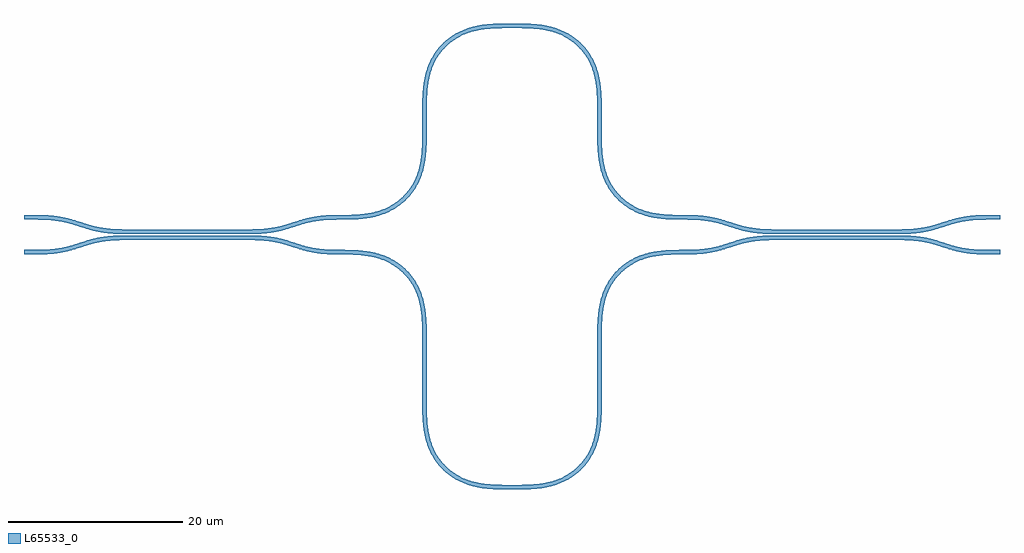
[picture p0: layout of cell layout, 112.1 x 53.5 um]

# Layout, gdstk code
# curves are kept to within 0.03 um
import gdstk
lib = gdstk.Library(unit=1e-6, precision=1e-09)
def R(c, l, rs):  # rectangles x0, y0, x1, y1
    for r in rs: c.add(gdstk.rectangle(r[:2], r[2:], *l))
def P(c, l, *ps):  # polygons
    for p in ps: c.add(gdstk.Polygon(p, *l))
L65533_0 = (65533, 0)

layout = lib.new_cell('layout')
R(layout, L65533_0, [(44.5,-28.9,44.6,-28.4), (34.25,-18.65,34.75,-11.65), (54.35,-18.65,54.85,-11.65), (-11.5,-1.9,-10,-1.4), (99.1,-1.9,100.6,-1.4), (-11.5,2.1,-10,2.6), (99.1,2.1,100.6,2.6), (34.25,12.35,34.75,14.35), (54.35,12.35,54.85,14.35), (44.5,24.1,44.6,24.6)])
P(layout, L65533_0, [(-10,-1.9),(-10,-1.4),(-8.633,-1.353),(-7.417,-1.209),(-6.25,-0.951),(-4.051,-0.264),(-3.066,-0.022),(-1.653,0.181),(-0.303,0.248),(14.5,0.25),(15.775,0.21),(16.846,0.101),(17.85,-0.083),(20.75,-0.951),(21.819,-1.192),(23.133,-1.353),(24.5,-1.4),(24.5,-1.9),(23.489,-1.876),(22.377,-1.781),(20.879,-1.502),(18.573,-0.791),(17.559,-0.531),(16.452,-0.352),(15.486,-0.274),(-0.44,-0.254),(-1.839,-0.34),(-3.059,-0.531),(-4.073,-0.791),(-6.033,-1.41),(-7.335,-1.702),(-8.596,-1.851)],
  [(0,0.45),(-1.404,0.499),(-2.665,0.648),(-3.967,0.94),(-5.927,1.559),(-7.033,1.838),(-8.392,2.033),(-10,2.1),(-10,2.6),(-8.596,2.551),(-7.335,2.402),(-6.033,2.11),(-4.073,1.491),(-2.967,1.212),(-1.608,1.017),(0,0.95),(14.5,0.95),(15.867,0.997),(16.88,1.109),(17.827,1.291),(20.533,2.11),(21.631,2.366),(22.847,2.531),(24.5,2.6),(24.5,2.1),(23.133,2.053),(21.722,1.874),(20.587,1.605),(18.032,0.826),(17.061,0.631),(16.153,0.519),(14.5,0.45)],
  [(34.25,-11.65),(34.231,-9.995),(34.161,-8.904),(34.031,-7.963),(33.853,-7.173),(33.551,-6.285),(33.201,-5.563),(32.769,-4.888),(32.168,-4.171),(31.682,-3.712),(31.043,-3.228),(30.351,-2.823),(29.616,-2.501),(28.584,-2.199),(27.381,-2.003),(26.155,-1.919),(24.5,-1.9),(24.5,-1.4),(26.312,-1.425),(27.435,-1.506),(28.415,-1.653),(29.383,-1.894),(30.319,-2.252),(31.079,-2.658),(31.897,-3.24),(32.529,-3.824),(33.173,-4.594),(33.773,-5.572),(34.166,-6.495),(34.439,-7.456),(34.591,-8.294),(34.694,-9.277),(34.75,-11.65)],
  [(44.084,-28.9),(42.688,-28.875),(41.565,-28.794),(40.585,-28.647),(39.617,-28.406),(38.681,-28.048),(37.921,-27.642),(37.103,-27.06),(36.471,-26.476),(35.912,-25.821),(35.363,-24.981),(34.933,-24.073),(34.664,-23.259),(34.452,-22.286),(34.329,-21.304),(34.265,-20.182),(34.25,-18.65),(34.75,-18.65),(34.769,-20.305),(34.853,-21.531),(35.02,-22.602),(35.306,-23.64),(35.613,-24.381),(35.934,-24.967),(36.311,-25.519),(36.832,-26.129),(37.318,-26.588),(37.957,-27.072),(38.649,-27.477),(39.384,-27.799),(40.416,-28.101),(41.619,-28.297),(42.845,-28.381),(44.5,-28.4),(44.5,-28.9)],
  [(24.5,2.1),(24.5,2.6),(26.155,2.619),(27.381,2.703),(28.452,2.87),(29.49,3.156),(30.231,3.463),(30.931,3.855),(31.579,4.326),(32.075,4.775),(32.524,5.271),(32.995,5.919),(33.387,6.619),(33.694,7.36),(33.98,8.398),(34.147,9.469),(34.231,10.695),(34.25,12.35),(34.75,12.35),(34.735,10.818),(34.658,9.555),(34.523,8.574),(34.297,7.604),(33.957,6.662),(33.566,5.895),(33,5.065),(32.428,4.422),(31.785,3.85),(30.955,3.284),(30.188,2.893),(29.246,2.553),(28.276,2.327),(27.295,2.192),(26.032,2.115)],
  [(34.25,14.35),(34.265,15.882),(34.342,17.145),(34.477,18.126),(34.703,19.096),(35.043,20.038),(35.434,20.805),(36,21.635),(36.572,22.278),(37.215,22.85),(38.045,23.416),(38.812,23.807),(39.754,24.147),(40.724,24.373),(41.705,24.508),(42.968,24.585),(44.5,24.6),(44.5,24.1),(42.845,24.081),(41.619,23.997),(40.548,23.83),(39.51,23.544),(38.769,23.237),(38.069,22.845),(37.421,22.374),(36.925,21.925),(36.476,21.429),(36.005,20.781),(35.613,20.081),(35.306,19.34),(35.02,18.302),(34.853,17.231),(34.769,16.005),(34.75,14.35)],
  [(54.35,14.35),(54.331,16.005),(54.261,17.096),(54.131,18.037),(53.953,18.827),(53.651,19.715),(53.301,20.437),(52.869,21.112),(52.268,21.829),(51.782,22.288),(51.143,22.772),(50.451,23.177),(49.716,23.499),(48.684,23.801),(47.481,23.997),(46.255,24.081),(44.6,24.1),(44.6,24.6),(46.412,24.575),(47.535,24.494),(48.515,24.347),(49.483,24.106),(50.419,23.748),(51.179,23.342),(51.997,22.76),(52.629,22.176),(53.273,21.406),(53.873,20.428),(54.266,19.505),(54.539,18.544),(54.691,17.706),(54.794,16.723),(54.85,14.35)],
  [(64.184,2.1),(62.788,2.125),(61.665,2.206),(60.685,2.353),(59.717,2.594),(58.781,2.952),(58.021,3.358),(57.203,3.94),(56.571,4.524),(56.012,5.179),(55.463,6.019),(55.033,6.927),(54.764,7.741),(54.552,8.714),(54.429,9.696),(54.365,10.818),(54.35,12.35),(54.85,12.35),(54.869,10.695),(54.953,9.469),(55.12,8.398),(55.406,7.36),(55.713,6.619),(56.034,6.033),(56.411,5.481),(56.932,4.871),(57.418,4.412),(58.057,3.928),(58.749,3.523),(59.484,3.201),(60.516,2.899),(61.719,2.703),(62.945,2.619),(64.6,2.6),(64.6,2.1)],
  [(44.6,-28.9),(44.6,-28.4),(46.255,-28.381),(47.481,-28.297),(48.552,-28.13),(49.59,-27.844),(50.331,-27.537),(51.031,-27.145),(51.679,-26.674),(52.175,-26.225),(52.624,-25.729),(53.095,-25.081),(53.487,-24.381),(53.794,-23.64),(54.08,-22.602),(54.247,-21.531),(54.331,-20.305),(54.35,-18.65),(54.85,-18.65),(54.835,-20.182),(54.758,-21.445),(54.623,-22.426),(54.397,-23.396),(54.057,-24.338),(53.666,-25.105),(53.1,-25.935),(52.528,-26.578),(51.885,-27.15),(51.055,-27.716),(50.288,-28.107),(49.346,-28.447),(48.376,-28.673),(47.395,-28.808),(46.132,-28.885)],
  [(54.35,-11.65),(54.365,-10.118),(54.442,-8.855),(54.577,-7.874),(54.803,-6.904),(55.143,-5.962),(55.534,-5.195),(56.1,-4.365),(56.672,-3.722),(57.315,-3.15),(58.145,-2.584),(58.912,-2.193),(59.854,-1.853),(60.824,-1.627),(61.805,-1.492),(63.068,-1.415),(64.6,-1.4),(64.6,-1.9),(62.945,-1.919),(61.719,-2.003),(60.648,-2.17),(59.61,-2.456),(58.869,-2.763),(58.169,-3.155),(57.521,-3.626),(57.025,-4.075),(56.576,-4.571),(56.105,-5.219),(55.713,-5.919),(55.406,-6.66),(55.12,-7.698),(54.953,-8.769),(54.869,-9.995),(54.85,-11.65)],
  [(64.6,-1.9),(64.6,-1.4),(65.967,-1.353),(67.183,-1.209),(68.35,-0.951),(70.549,-0.264),(71.534,-0.022),(72.947,0.181),(74.297,0.248),(89.1,0.25),(90.375,0.21),(91.446,0.101),(92.45,-0.083),(95.35,-0.951),(96.419,-1.192),(97.733,-1.353),(99.1,-1.4),(99.1,-1.9),(98.089,-1.876),(96.977,-1.781),(95.479,-1.502),(93.173,-0.791),(92.159,-0.531),(91.052,-0.352),(90.086,-0.274),(74.16,-0.254),(72.761,-0.34),(71.541,-0.531),(70.527,-0.791),(68.567,-1.41),(67.265,-1.702),(66.004,-1.851)],
  [(74.6,0.45),(73.196,0.499),(71.935,0.648),(70.633,0.94),(68.673,1.559),(67.567,1.838),(66.208,2.033),(64.6,2.1),(64.6,2.6),(66.004,2.551),(67.265,2.402),(68.567,2.11),(70.527,1.491),(71.633,1.212),(72.992,1.017),(74.6,0.95),(89.1,0.95),(90.467,0.997),(91.48,1.109),(92.427,1.291),(95.133,2.11),(96.231,2.366),(97.447,2.531),(99.1,2.6),(99.1,2.1),(97.733,2.053),(96.322,1.874),(95.187,1.605),(92.632,0.826),(91.661,0.631),(90.753,0.519),(89.1,0.45)])

lib.write_gds('layout.gds')
